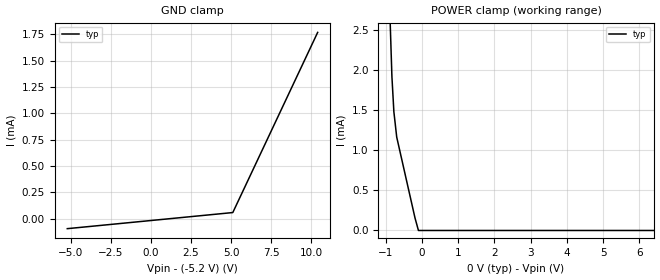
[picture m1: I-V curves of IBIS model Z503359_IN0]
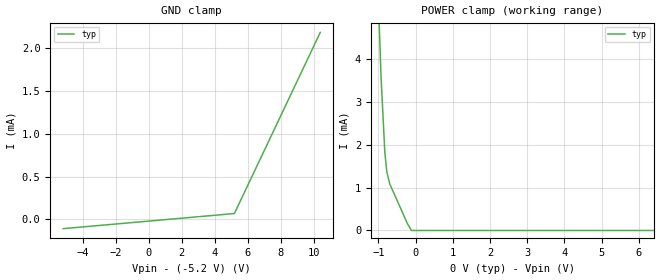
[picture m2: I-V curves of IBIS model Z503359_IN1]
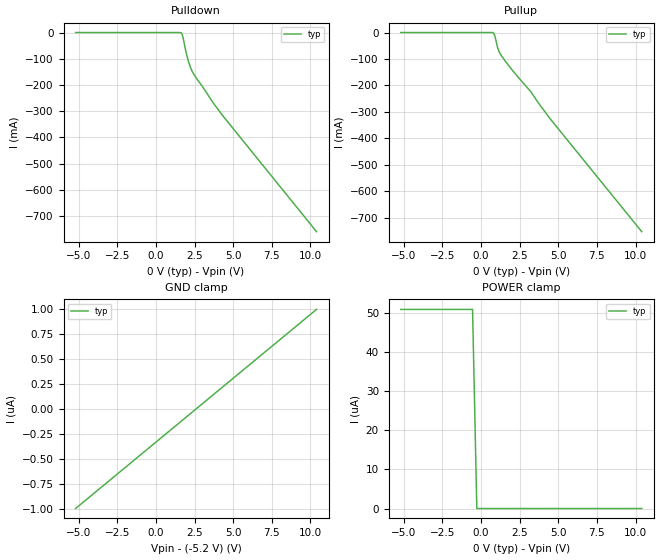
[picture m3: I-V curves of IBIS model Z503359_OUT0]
| YOU ARE ONLY AUTHORIZED TO USE THIS SOFTWARE
| ACCORDING TO LICENSOR'S LICENSE RESTRICTIONS.
[IBIS Ver] 3.1
[File Name] mc100e111fn.ibs
[File Rev] 2.0
[Source] Measured and created by ICX Technology
[Date] Friday 7/14/00 9:07:46 AM
[Copyright]
| (C) COPYRIGHT 1993-2000
| MENTOR GRAPHICS CORPORATION
| ICX STANDARD LIBRARY, ICX PROJECT MODELING,
| ICX CUSTOM MODELING, ICX VENDOR MODEL
| ALL RIGHTS RESERVED.
| THE FOLLOWING ARE TRADEMARKS OR SERVICE MARKS OF
| MENTOR GRAPHICS CORPORATION:ICX (R), ICX STANDARD
| LIBRARY(R), ICX PROJECT MODELING(R), ICX CUSTOM
| MODELING(R), qualityIBIS(TM), MODELVIEWER(TM),
| AND MODELEDITOR(TM)
| ALL COPIES OF SOFTWARE, INCLUDING BUT NOT LIMITED TO
| ANY MODIFICATIONS, ENHANCEMENTS OR DERIVATIVE WORKS,
| MUST CONTAIN ALL MENTOR GRAPHICS CORPORATION'S
| NOTICES AND LEGENDS, INCLUDING THOSE EMBEDDED IN
| SOFTWARE AND THOSE AFFIXED TO SOFTWARE MEDIUM
| AND CONTAINER, AS RECEIVED FROM MENTOR GRAPHICS
| CORPORATION.
|  ZAP Model Builder 2.7
[Component] MC100E111FN
[Manufacturer] OnSemiconductor
[Package]
| variable   typ   min   max
R_pkg  .083ohms NA NA
L_pkg  4.299nH NA NA
C_pkg  1.045pF NA NA
[Pin] signal_name  model_name  R_pin  L_pin C_pin
1 VCC POWER .08 3.94n .925p
2 _IN Z503359_IN0 .082 4.14n .995p
3 VBB POWER .084 4.354n 1.065p
4 NC NC .086 4.583n 1.135p
5 _Q8 Z503359_OUT1 .086 4.583n 1.135p
6 Q8 Z503359_OUT0 .084 4.354n 1.065p
7 _Q7 Z503359_OUT1 .082 4.14n .995p
8 VCCO POWER .08 3.94n .925p
9 Q7 Z503359_OUT0 .082 4.14n .995p
10 _Q6 Z503359_OUT1 .084 4.354n 1.065p
11 Q6 Z503359_OUT0 .086 4.583n 1.135p
12 _Q5 Z503359_OUT1 .086 4.583n 1.135p
13 Q5 Z503359_OUT0 .084 4.354n 1.065p
14 _Q4 Z503359_OUT1 .082 4.14n .995p
15 VCCO POWER .08 3.94n .925p
16 Q4 Z503359_OUT0 .082 4.14n .995p
17 _Q3 Z503359_OUT1 .084 4.354n 1.065p
18 Q3 Z503359_OUT0 .086 4.583n 1.135p
19 _Q2 Z503359_OUT1 .086 4.583n 1.135p
20 Q2 Z503359_OUT0 .084 4.354n 1.065p
21 _Q1 Z503359_OUT1 .082 4.14n .995p
22 VCCO POWER .08 3.94n .925p
23 Q1 Z503359_OUT0 .082 4.14n .995p
24 _Q0 Z503359_OUT1 .084 4.354n 1.065p
25 Q0 Z503359_OUT0 .086 4.583n 1.135p
26 VEE POWER .086 4.583n 1.135p
27 _EN Z503359_IN1 .084 4.354n 1.065p
28 IN Z503359_IN0 .082 4.14n .995p
| Models and submodels in the file (4): Z503359_IN0 (Input_ECL), Z503359_IN1 (Input_ECL), Z503359_OUT0 (Output_ECL), Z503359_OUT1 (Output_ECL)
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| (C) COPYRIGHT 1993-2000
| MENTOR GRAPHICS CORPORATION
| ICX STANDARD LIBRARY, ICX PROJECT MODELING,
| ICX CUSTOM MODELING, ICX VENDOR MODEL
| ALL RIGHTS RESERVED.
| THE FOLLOWING ARE TRADEMARKS OR SERVICE MARKS OF
| MENTOR GRAPHICS CORPORATION:ICX (R), ICX STANDARD
| LIBRARY(R), ICX PROJECT MODELING(R), ICX CUSTOM
| MODELING(R), qualityIBIS(TM), MODELVIEWER(TM),
| AND MODELEDITOR(TM)
| ALL COPIES OF SOFTWARE, INCLUDING BUT NOT LIMITED TO
| ANY MODIFICATIONS, ENHANCEMENTS OR DERIVATIVE WORKS,
| MUST CONTAIN ALL MENTOR GRAPHICS CORPORATION'S
| NOTICES AND LEGENDS, INCLUDING THOSE EMBEDDED IN
| SOFTWARE AND THOSE AFFIXED TO SOFTWARE MEDIUM
| AND CONTAINER, AS RECEIVED FROM MENTOR GRAPHICS
| CORPORATION.
| Model Application Version 1.89 2/18/99.
[Model] Z503359_IN0
Model_type Input_ECL
Vinl = -1.475V
Vinh = -1.165V
C_comp 4.000pF NA NA
| variable typ   min   max
[Voltage Range] -5.200V NA NA
[GND Clamp Reference] -5.200V NA NA
[POWER Clamp Reference] 0.000V NA NA
[GND Clamp]
-5.2V     -96.24uA   NA         NA
5.112V    56.64uA    NA         NA
10.4V     1.767mA    NA         NA
[POWER Clamp]
-5.2V     76.57mA    NA         NA
-1.035V   4.882mA    NA         NA
-825.2mV  1.922mA    NA         NA
-771.4mV  1.484mA    NA         NA
-692.9mV  1.167mA    NA         NA
-187.1mV  154.1uA    NA         NA
-93.55mV  0A         NA         NA
10.4V     0A         NA         NA
| (C) COPYRIGHT 1993-2000
| MENTOR GRAPHICS CORPORATION
| ICX STANDARD LIBRARY, ICX PROJECT MODELING,
| ICX CUSTOM MODELING, ICX VENDOR MODEL
| ALL RIGHTS RESERVED.
| THE FOLLOWING ARE TRADEMARKS OR SERVICE MARKS OF
| MENTOR GRAPHICS CORPORATION:ICX (R), ICX STANDARD
| LIBRARY(R), ICX PROJECT MODELING(R), ICX CUSTOM
| MODELING(R), qualityIBIS(TM), MODELVIEWER(TM),
| AND MODELEDITOR(TM)
| ALL COPIES OF SOFTWARE, INCLUDING BUT NOT LIMITED TO
| ANY MODIFICATIONS, ENHANCEMENTS OR DERIVATIVE WORKS,
| MUST CONTAIN ALL MENTOR GRAPHICS CORPORATION'S
| NOTICES AND LEGENDS, INCLUDING THOSE EMBEDDED IN
| SOFTWARE AND THOSE AFFIXED TO SOFTWARE MEDIUM
| AND CONTAINER, AS RECEIVED FROM MENTOR GRAPHICS
| CORPORATION.
| Model Application Version 1.89 2/18/99.
[Model] Z503359_IN1
Model_type Input_ECL
Vinl = -1.475V
Vinh = -1.165V
C_comp 4.000pF NA NA
| variable typ   min   max
[Voltage Range] -5.200V NA NA
[GND Clamp Reference] -5.200V NA NA
[POWER Clamp Reference] 0.000V NA NA
[GND Clamp]
-5.2V     -107.2uA   NA         NA
5.19V     69.26uA    NA         NA
10.4V     2.184mA    NA         NA
[POWER Clamp]
-5.2V     126.7mA    NA         NA
-1.088V   7.604mA    NA         NA
-927.8mV  3.58mA     NA         NA
-825.2mV  1.809mA    NA         NA
-771.4mV  1.361mA    NA         NA
-693.2mV  1.083mA    NA         NA
-225.7mV  173uA      NA         NA
-112.9mV  0A         NA         NA
10.4V     0A         NA         NA
| (C) COPYRIGHT 1993-2000
| MENTOR GRAPHICS CORPORATION
| ICX STANDARD LIBRARY, ICX PROJECT MODELING,
| ICX CUSTOM MODELING, ICX VENDOR MODEL
| ALL RIGHTS RESERVED.
| THE FOLLOWING ARE TRADEMARKS OR SERVICE MARKS OF
| MENTOR GRAPHICS CORPORATION:ICX (R), ICX STANDARD
| LIBRARY(R), ICX PROJECT MODELING(R), ICX CUSTOM
| MODELING(R), qualityIBIS(TM), MODELVIEWER(TM),
| AND MODELEDITOR(TM)
| ALL COPIES OF SOFTWARE, INCLUDING BUT NOT LIMITED TO
| ANY MODIFICATIONS, ENHANCEMENTS OR DERIVATIVE WORKS,
| MUST CONTAIN ALL MENTOR GRAPHICS CORPORATION'S
| NOTICES AND LEGENDS, INCLUDING THOSE EMBEDDED IN
| SOFTWARE AND THOSE AFFIXED TO SOFTWARE MEDIUM
| AND CONTAINER, AS RECEIVED FROM MENTOR GRAPHICS
| CORPORATION.
| Model Application Version 1.89 2/18/99.
[Model] Z503359_OUT0
Model_type Output_ECL
Vref=-2.000V
Rref=50.00ohms
Cref=0.000F
Vmeas=-1.320V
C_comp 8.000pF NA NA
| variable typ   min   max
[Voltage Range] -5.200V NA NA
[POWER Clamp Reference] 0.000V NA NA
[Pullup Reference] 0.000V NA NA
[Pulldown Reference] 0.000V NA NA
[GND Clamp Reference] -5.200V NA NA
[GND Clamp]
-5.2V     -1uA       NA         NA
10.4V     1uA        NA         NA
[Pulldown]
-5.2V     130.1uA    NA         NA
1.645V    -1.685mA   NA         NA
1.699V    -6.555mA   NA         NA
1.765V    -20.37mA   NA         NA
1.897V    -60.03mA   NA         NA
2.07V     -102.8mA   NA         NA
2.238V    -132.9mA   NA         NA
2.378V    -151.5mA   NA         NA
2.632V    -175.1mA   NA         NA
3.692V    -266.5mA   NA         NA
4.353V    -318.8mA   NA         NA
10.4V     -759.1mA   NA         NA
[Pullup]
-5.2V     71.03uA    NA         NA
805.7mV   -1.844mA   NA         NA
892.5mV   -12.82mA   NA         NA
1.064V    -55.39mA   NA         NA
1.133V    -67.78mA   NA         NA
1.329V    -88.7mA    NA         NA
1.568V    -108.2mA   NA         NA
2.417V    -170.1mA   NA         NA
3.223V    -223.9mA   NA         NA
3.639V    -260.5mA   NA         NA
4.482V    -327mA     NA         NA
10.4V     -753.4mA   NA         NA
[POWER Clamp]
-5.2V     50.87uA    NA         NA
-551.7mV  50.87uA    NA         NA
-275.8mV  0A         NA         NA
10.4V     0A         NA         NA
[Ramp]
| variable typ min max
dV/dt_r 482.3m/251.3p NA NA
dV/dt_f 482.3m/223.4p NA NA
R_load = 500.0Ohms
